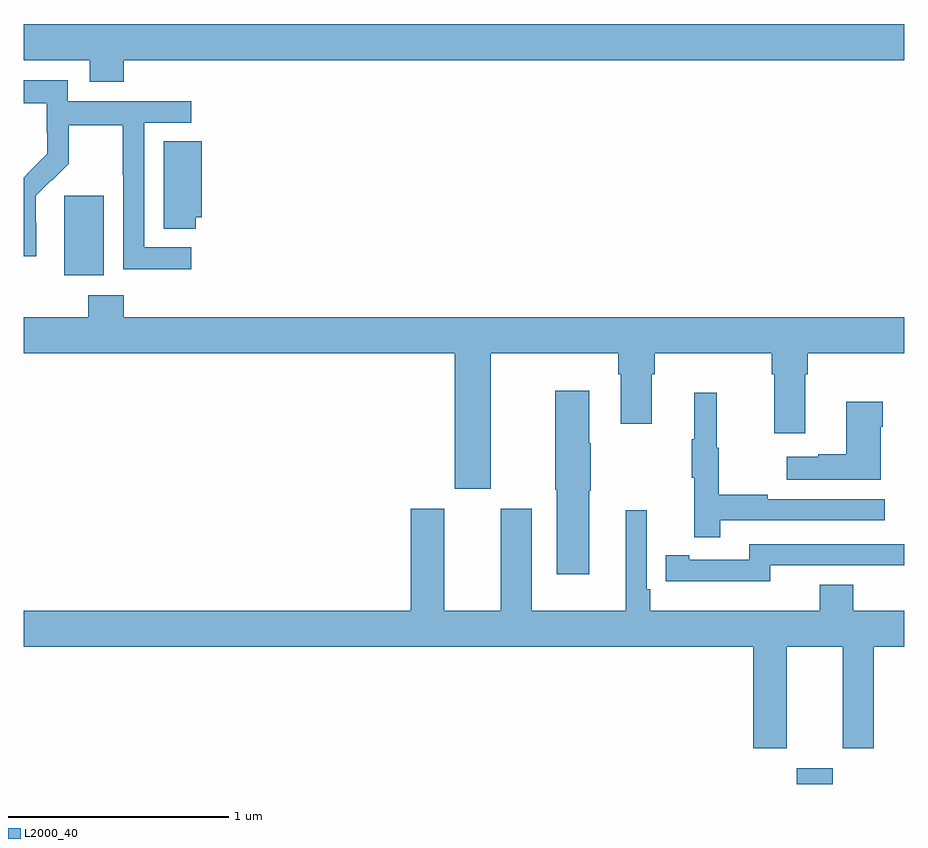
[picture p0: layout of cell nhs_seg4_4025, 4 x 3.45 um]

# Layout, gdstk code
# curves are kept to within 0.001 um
import gdstk
lib = gdstk.Library(unit=1e-6, precision=1e-09)
def R(c, l, rs):  # rectangles x0, y0, x1, y1
    for r in rs: c.add(gdstk.rectangle(r[:2], r[2:], *l))
def P(c, l, *ps):  # polygons
    for p in ps: c.add(gdstk.Polygon(p, *l))
L2000_40 = (2000, 40)

nhs_seg4_4025 = lib.new_cell('nhs_seg4_4025')
R(nhs_seg4_4025, L2000_40, [(328.511,758.9,328.675,758.971), (325.184,761.21,325.363,761.571)])
P(nhs_seg4_4025, L2000_40, [(325.454,762.188),(329,762.188),(329,762.352),(325,762.352),(325,762.188),(325.301,762.188),(325.301,762.089),(325.454,762.089)],
  [(325.762,761.337),(325.548,761.337),(325.548,761.904),(325.762,761.904),(325.762,762),(325.2,762),(325.2,762.097),(325,762.097),(325,761.993),(325.104,761.993),(325.104,761.859),(325.106,761.859),(325.106,761.762),(325,761.654),(325,761.296),(325.056,761.296),(325.055,761.573),(325.125,761.643),(325.128,761.64),(325.205,761.717),(325.205,761.892),(325.45,761.892),(325.45,761.668),(325.452,761.668),(325.452,761.239),(325.762,761.239)],
  [(325.781,761.475),(325.808,761.475),(325.808,761.819),(325.637,761.819),(325.637,761.422),(325.781,761.422)],
  [(325.454,761.119),(325.294,761.119),(325.294,761.02),(325,761.02),(325,760.856),(326.957,760.856),(326.957,760.242),(327.121,760.242),(327.121,760.856),(327.701,760.856),(327.701,760.76),(327.713,760.76),(327.713,760.536),(327.853,760.536),(327.853,760.76),(327.866,760.76),(327.866,760.856),(328.397,760.856),(328.397,760.76),(328.409,760.76),(328.409,760.494),(328.549,760.494),(328.549,760.76),(328.562,760.76),(328.562,760.856),(329,760.856),(329,761.02),(325.454,761.02)],
  [(327.568,760.231),(327.576,760.231),(327.576,760.448),(327.568,760.448),(327.568,760.687),(327.415,760.687),(327.415,760.237),(327.422,760.237),(327.422,759.852),(327.568,759.852)],
  [(328.163,760.098),(328.912,760.098),(328.912,760.194),(328.379,760.194),(328.379,760.214),(328.156,760.214),(328.156,760.428),(328.148,760.428),(328.148,760.678),(328.046,760.678),(328.046,760.465),(328.035,760.465),(328.035,760.291),(328.046,760.291),(328.046,760.02),(328.163,760.02)],
  [(328.894,760.523),(328.902,760.523),(328.902,760.636),(328.736,760.636),(328.736,760.397),(328.61,760.397),(328.61,760.387),(328.467,760.387),(328.467,760.283),(328.894,760.283)],
  [(328.465,759.524),(328.721,759.524),(328.721,759.063),(328.861,759.063),(328.861,759.524),(329,759.524),(329,759.688),(328.769,759.688),(328.769,759.805),(328.616,759.805),(328.616,759.688),(327.845,759.688),(327.845,759.784),(327.831,759.784),(327.831,760.144),(327.734,760.144),(327.734,759.688),(327.307,759.688),(327.307,760.15),(327.167,760.15),(327.167,759.688),(326.911,759.688),(326.911,760.15),(326.759,760.15),(326.759,759.688),(325,759.688),(325,759.524),(328.313,759.524),(328.313,759.063),(328.465,759.063)],
  [(328.392,759.894),(328.852,759.894),(328.852,759.893),(329,759.893),(329,759.99),(328.296,759.99),(328.296,759.918),(328.024,759.918),(328.024,759.938),(327.916,759.938),(327.916,759.822),(328.024,759.822),(328.024,759.821),(328.392,759.821)])

lib.write_gds('nhs_seg4_4025.gds')
